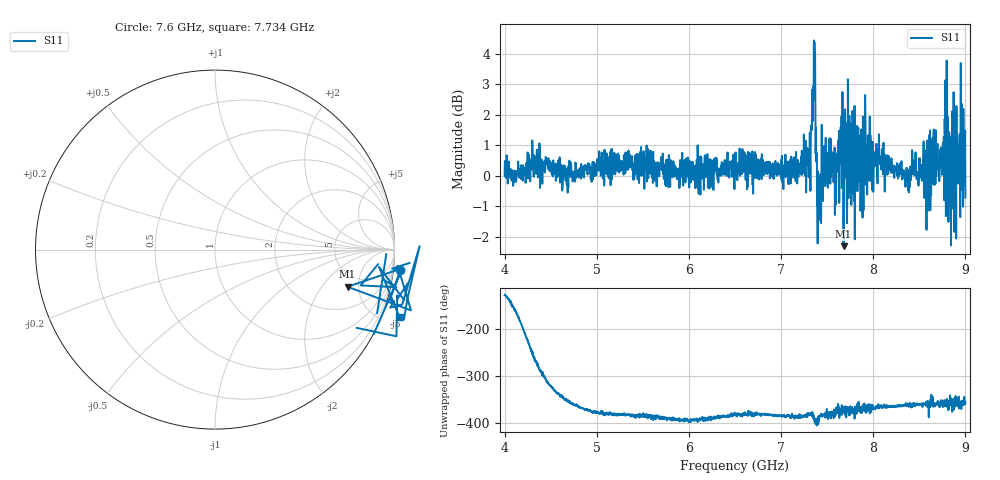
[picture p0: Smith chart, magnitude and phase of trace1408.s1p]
! Created with skrf 1.8.0 (http://scikit-rf.org).
# Hz S RI R 50.0
!freq ReS11 ImS11
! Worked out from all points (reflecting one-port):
!   1601 points, 4 GHz to 9 GHz, reference 50 ohm
!   lowest |S11| = -2.3 dB at 7.678 GHz (marker M1), VSWR 7.57, Z = 185 - j186 ohm
!   phase of S11 starts at -127 deg and turns -228 deg over the sweep
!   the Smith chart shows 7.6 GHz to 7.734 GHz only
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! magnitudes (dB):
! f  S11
! 4 GHz  0.0
! 4.316 GHz  0.0
! 4.625 GHz  -0.5
! 5.25 GHz  0.5
! 5.875 GHz  -0.1
! 6.5 GHz  0.1
! 7.125 GHz  0.2
! 7.294 GHz  0.3
! 7.319 GHz  -0.5
! 7.347 GHz  2.5
! 7.362 GHz  4.4
! 7.397 GHz  -2.2
! 7.412 GHz  -1.2
! 7.481 GHz  -0.3
! 7.588 GHz  0.2
! 7.647 GHz  1.6
! 7.678 GHz  -2.3
! 7.75 GHz  -0.5
! 7.784 GHz  0.1
! 7.928 GHz  1.0
! 8.375 GHz  0.1
! 8.438 GHz  0.5
! 8.575 GHz  -0.2
! 8.8 GHz  0.4
! 8.856 GHz  0.2
! 8.953 GHz  -0.5
! 8.972 GHz  0.3
! 9 GHz  -0.7
